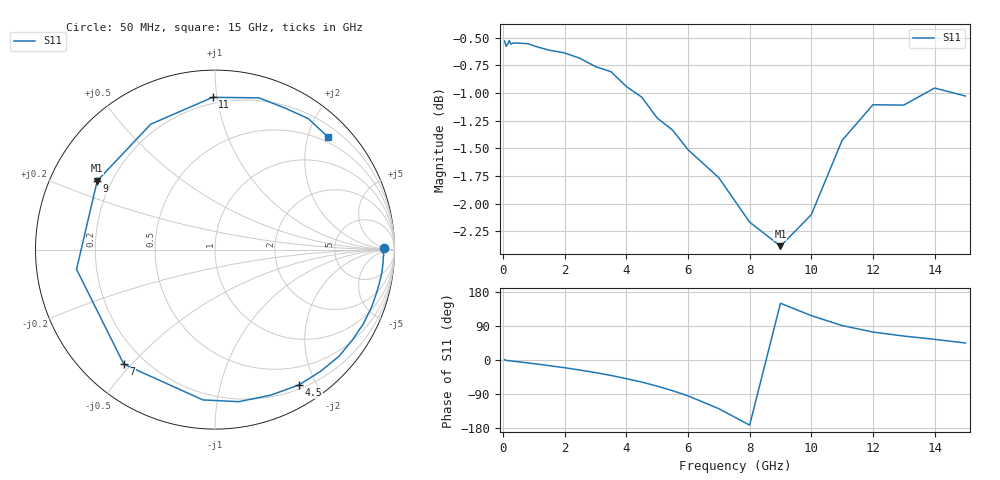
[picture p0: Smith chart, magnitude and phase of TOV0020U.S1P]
! SIEMENS Small Signal Semiconductors
! BAT15-03W
! Si Schottky Diode in SOD323
! IF = 0.02 mA
! S-Parameters:  May  1996
# GHz  S  MA  R  50
!  f  S11
! GHz  MAG  ANG
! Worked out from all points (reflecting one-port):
!   31 points, 50 MHz to 15 GHz, reference 50 ohm
!   lowest |S11| = -2.4 dB at 9 GHz (marker M1), VSWR 7.33, Z = 7.31 + j13.3 ohm
!   phase of S11 starts at 1 deg and turns -316 deg over the sweep
!   S11 on the Smith chart (normalised r, x): 50 MHz: 32, +6; 4.5 GHz: 0.25, -1.77; 7 GHz: 0.12, -0.48; 9 GHz: 0.15, +0.27; 11 GHz: 0.16, +0.97; 15 GHz: 0.40, +2.36
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0.05  0.941 0.7
0.1  0.9358 -1.1
0.15  0.9378 -1.4
0.2  0.9415 -1.9
0.25  0.938 -2.5
0.4  0.9391 -3.8
0.5  0.939 -4.8
0.8  0.9384 -7.7
1.2  0.9345 -11.7
1.5  0.932 -15.0
2  0.9293 -20.4
2.5  0.9241 -26.7
3  0.9162 -33.3
3.5  0.9114 -40.7
4  0.8974 -49.3
4.5  0.8875 -58.2
5  0.8684 -69.0
5.5  0.8576 -81.1
6  0.8402 -94.6
7  0.816 -128.5
8  0.7792 -171.9
9  0.7598 149.7
10  0.7852 117.1
11  0.8484 90.9
12  0.8805 73.8
13  0.8802 63.2
14  0.896 54.5
15  0.8885 44.9
